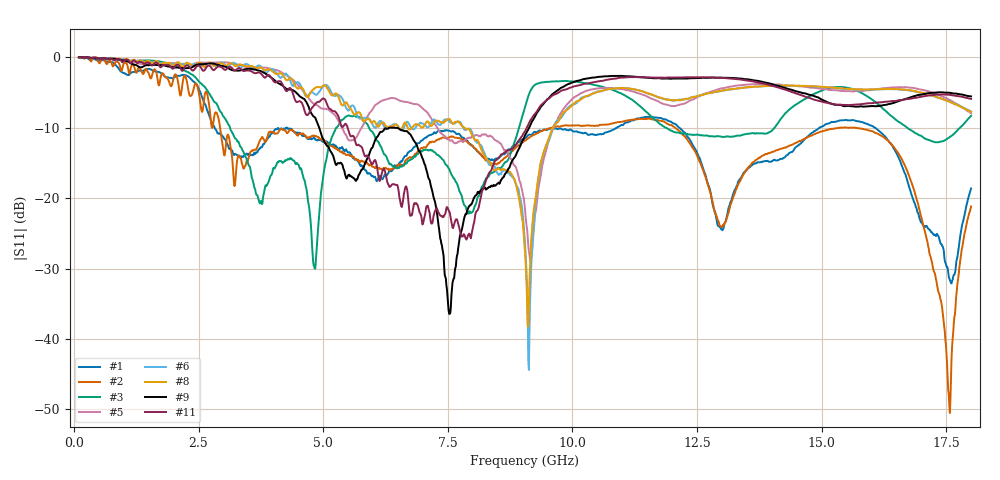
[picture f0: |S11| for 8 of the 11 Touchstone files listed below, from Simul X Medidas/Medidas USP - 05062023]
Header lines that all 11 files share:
!Correction: S11(C  1-Port  )
!S1P File: Measurement: :
# Hz S  dB  R 50
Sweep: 100 MHz to 18 GHz
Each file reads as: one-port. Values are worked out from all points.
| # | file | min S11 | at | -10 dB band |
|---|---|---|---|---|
| 1 | cardioid.s1p | -32.1 dB | 17.61 GHz | 6.616 GHz wide |
| 2 | cardioid_set3.s1p | -50.5 dB | 17.57 GHz | 6.668 GHz wide |
| 3 | koch.s1p | -30.0 dB | 4.832 GHz | 3.012 GHz wide |
| 4 | koch_set3.s1p | -26.2 dB | 3.825 GHz | 3.329 GHz wide |
| 5 | sierpinski_v1.s1p | -29.0 dB | 9.162 GHz | 2.343 GHz wide |
| 6 | sierpinski_v1_set2.s1p | -44.4 dB | 9.128 GHz | 1.798 GHz wide |
| 7 | sierpinski_v1_set2smooth.s1p | -32.6 dB | 9.128 GHz | 1.783 GHz wide |
| 8 | sierpinski_v1_set3.s1p | -38.3 dB | 9.106 GHz | 1.776 GHz wide |
| 9 | sierpinski_v4.s1p | -36.4 dB | 7.529 GHz | 2.698 GHz wide |
| 10 | sierpinski_v4_set2.s1p | -25.6 dB | 7.954 GHz | 3.563 GHz wide |
| 11 | sierpinski_v4_set3.s1p | -25.9 dB | 7.875 GHz | 3.592 GHz wide |
